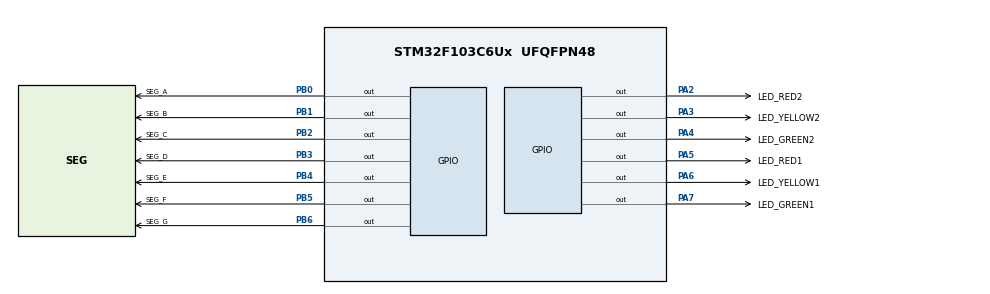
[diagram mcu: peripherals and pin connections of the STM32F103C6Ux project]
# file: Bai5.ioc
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Mcu.Family=STM32F1
Mcu.Name=STM32F103C6Ux
Mcu.Package=UFQFPN48
NVIC.PriorityGroup=NVIC_PRIORITYGROUP_4
PA2.GPIO_Label=LED_RED2
PA2.Signal=GPIO_Output
PA3.GPIO_Label=LED_YELLOW2
PA3.Signal=GPIO_Output
PA4.GPIO_Label=LED_GREEN2
PA4.Signal=GPIO_Output
PA5.GPIO_Label=LED_RED1
PA5.Signal=GPIO_Output
PA6.GPIO_Label=LED_YELLOW1
PA6.Signal=GPIO_Output
PA7.GPIO_Label=LED_GREEN1
PA7.Signal=GPIO_Output
PB0.GPIO_Label=SEG_A
PB0.Signal=GPIO_Output
PB1.GPIO_Label=SEG_B
PB1.Signal=GPIO_Output
PB2.GPIO_Label=SEG_C
PB2.Signal=GPIO_Output
PB3.GPIO_Label=SEG_D
PB3.Signal=GPIO_Output
PB4.GPIO_Label=SEG_E
PB4.Signal=GPIO_Output
PB5.GPIO_Label=SEG_F
PB5.Signal=GPIO_Output
PB6.GPIO_Label=SEG_G
PB6.Signal=GPIO_Output
ProjectManager.HeapSize=0x200
ProjectManager.StackSize=0x400
ProjectManager.TargetToolchain=STM32CubeIDE
RCC.APB1Freq_Value=8000000
RCC.APB2Freq_Value=8000000
VP_SYS_VS_ND.Mode=No_Debug
board=custom

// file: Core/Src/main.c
/* USER CODE BEGIN Header */
/**
 ******************************************************************************
 * @file           : main.c
 * @brief          : Main program body
 ******************************************************************************
 * @attention
 *
 * <h2><center>&copy; Copyright (c) 2022 STMicroelectronics.
 * All rights reserved.</center></h2>
 *
 * This software component is licensed by ST under BSD 3-Clause license,
 * the "License"; You may not use this file except in compliance with the
 * License. You may obtain a copy of the License at:
 *                        opensource.org/licenses/BSD-3-Clause
 *
 ******************************************************************************
 */
/* USER CODE END Header */
#include "main.h"

void SystemClock_Config(void);
static void MX_GPIO_Init(void);
void display7SEG(int num);

/* USER CODE BEGIN 0 */
void display7SEG(int num) {
	if (num == 0) {
		HAL_GPIO_WritePin(SEG_A_GPIO_Port, SEG_A_Pin, RESET);
		HAL_GPIO_WritePin(SEG_B_GPIO_Port, SEG_B_Pin, RESET);
		HAL_GPIO_WritePin(SEG_C_GPIO_Port, SEG_C_Pin, RESET);
		HAL_GPIO_WritePin(SEG_D_GPIO_Port, SEG_D_Pin, RESET);
		HAL_GPIO_WritePin(SEG_E_GPIO_Port, SEG_E_Pin, RESET);
		HAL_GPIO_WritePin(SEG_F_GPIO_Port, SEG_F_Pin, RESET);
		HAL_GPIO_WritePin(SEG_G_GPIO_Port, SEG_G_Pin, SET);
	}
	if (num == 1) {
		HAL_GPIO_WritePin(SEG_A_GPIO_Port, SEG_A_Pin, SET);
		HAL_GPIO_WritePin(SEG_B_GPIO_Port, SEG_B_Pin, RESET);
		HAL_GPIO_WritePin(SEG_C_GPIO_Port, SEG_C_Pin, RESET);
		HAL_GPIO_WritePin(SEG_D_GPIO_Port, SEG_D_Pin, SET);
		HAL_GPIO_WritePin(SEG_E_GPIO_Port, SEG_E_Pin, SET);
		HAL_GPIO_WritePin(SEG_F_GPIO_Port, SEG_F_Pin, SET);
		HAL_GPIO_WritePin(SEG_G_GPIO_Port, SEG_G_Pin, SET);
	}
	if (num == 2) {
		HAL_GPIO_WritePin(SEG_A_GPIO_Port, SEG_A_Pin, RESET);
		HAL_GPIO_WritePin(SEG_B_GPIO_Port, SEG_B_Pin, RESET);
		HAL_GPIO_WritePin(SEG_C_GPIO_Port, SEG_C_Pin, SET);
		HAL_GPIO_WritePin(SEG_D_GPIO_Port, SEG_D_Pin, RESET);
		HAL_GPIO_WritePin(SEG_E_GPIO_Port, SEG_E_Pin, RESET);
		HAL_GPIO_WritePin(SEG_F_GPIO_Port, SEG_F_Pin, SET);
		HAL_GPIO_WritePin(SEG_G_GPIO_Port, SEG_G_Pin, RESET);
	}
	if (num == 3) {
		HAL_GPIO_WritePin(SEG_A_GPIO_Port, SEG_A_Pin, RESET);
		HAL_GPIO_WritePin(SEG_B_GPIO_Port, SEG_B_Pin, RESET);
		HAL_GPIO_WritePin(SEG_C_GPIO_Port, SEG_C_Pin, RESET);
		HAL_GPIO_WritePin(SEG_D_GPIO_Port, SEG_D_Pin, RESET);
		HAL_GPIO_WritePin(SEG_E_GPIO_Port, SEG_E_Pin, SET);
		HAL_GPIO_WritePin(SEG_F_GPIO_Port, SEG_F_Pin, SET);
		HAL_GPIO_WritePin(SEG_G_GPIO_Port, SEG_G_Pin, RESET);
	}
	if (num == 4) {
		HAL_GPIO_WritePin(SEG_A_GPIO_Port, SEG_A_Pin, SET);
		HAL_GPIO_WritePin(SEG_B_GPIO_Port, SEG_B_Pin, RESET);
		HAL_GPIO_WritePin(SEG_C_GPIO_Port, SEG_C_Pin, RESET);
		HAL_GPIO_WritePin(SEG_D_GPIO_Port, SEG_D_Pin, SET);
		HAL_GPIO_WritePin(SEG_E_GPIO_Port, SEG_E_Pin, SET);
		HAL_GPIO_WritePin(SEG_F_GPIO_Port, SEG_F_Pin, RESET);
		HAL_GPIO_WritePin(SEG_G_GPIO_Port, SEG_G_Pin, RESET);
	}
	if (num == 5) {
		HAL_GPIO_WritePin(SEG_A_GPIO_Port, SEG_A_Pin, RESET);
		HAL_GPIO_WritePin(SEG_B_GPIO_Port, SEG_B_Pin, SET);
		HAL_GPIO_WritePin(SEG_C_GPIO_Port, SEG_C_Pin, RESET);
		HAL_GPIO_WritePin(SEG_D_GPIO_Port, SEG_D_Pin, RESET);
		HAL_GPIO_WritePin(SEG_E_GPIO_Port, SEG_E_Pin, SET);
		HAL_GPIO_WritePin(SEG_F_GPIO_Port, SEG_F_Pin, RESET);
		HAL_GPIO_WritePin(SEG_G_GPIO_Port, SEG_G_Pin, RESET);
	}
	if (num == 6) {
		HAL_GPIO_WritePin(SEG_A_GPIO_Port, SEG_A_Pin, RESET);
		HAL_GPIO_WritePin(SEG_B_GPIO_Port, SEG_B_Pin, SET);
		HAL_GPIO_WritePin(SEG_C_GPIO_Port, SEG_C_Pin, RESET);
		HAL_GPIO_WritePin(SEG_D_GPIO_Port, SEG_D_Pin, RESET);
		HAL_GPIO_WritePin(SEG_E_GPIO_Port, SEG_E_Pin, RESET);
		HAL_GPIO_WritePin(SEG_F_GPIO_Port, SEG_F_Pin, RESET);
		HAL_GPIO_WritePin(SEG_G_GPIO_Port, SEG_G_Pin, RESET);
	}
	if (num == 7) {
		HAL_GPIO_WritePin(SEG_A_GPIO_Port, SEG_A_Pin, RESET);
		HAL_GPIO_WritePin(SEG_B_GPIO_Port, SEG_B_Pin, RESET);
		HAL_GPIO_WritePin(SEG_C_GPIO_Port, SEG_C_Pin, RESET);
		HAL_GPIO_WritePin(SEG_D_GPIO_Port, SEG_D_Pin, SET);
		HAL_GPIO_WritePin(SEG_E_GPIO_Port, SEG_E_Pin, SET);
		HAL_GPIO_WritePin(SEG_F_GPIO_Port, SEG_F_Pin, SET);
		HAL_GPIO_WritePin(SEG_G_GPIO_Port, SEG_G_Pin, SET);
	}
	if (num == 8) {
		HAL_GPIO_WritePin(SEG_A_GPIO_Port, SEG_A_Pin, RESET);
		HAL_GPIO_WritePin(SEG_B_GPIO_Port, SEG_B_Pin, RESET);
		HAL_GPIO_WritePin(SEG_C_GPIO_Port, SEG_C_Pin, RESET);
		HAL_GPIO_WritePin(SEG_D_GPIO_Port, SEG_D_Pin, RESET);
		HAL_GPIO_WritePin(SEG_E_GPIO_Port, SEG_E_Pin, RESET);
		HAL_GPIO_WritePin(SEG_F_GPIO_Port, SEG_F_Pin, RESET);
		HAL_GPIO_WritePin(SEG_G_GPIO_Port, SEG_G_Pin, RESET);
	}
	if (num == 9) {
		HAL_GPIO_WritePin(SEG_A_GPIO_Port, SEG_A_Pin, RESET);
		HAL_GPIO_WritePin(SEG_B_GPIO_Port, SEG_B_Pin, RESET);
		HAL_GPIO_WritePin(SEG_C_GPIO_Port, SEG_C_Pin, RESET);
		HAL_GPIO_WritePin(SEG_D_GPIO_Port, SEG_D_Pin, RESET);
		HAL_GPIO_WritePin(SEG_E_GPIO_Port, SEG_E_Pin, SET);
		HAL_GPIO_WritePin(SEG_F_GPIO_Port, SEG_F_Pin, RESET);
		HAL_GPIO_WritePin(SEG_G_GPIO_Port, SEG_G_Pin, RESET);
	}
}
/* USER CODE END 0 */

int main(void) {

	/* MCU Configuration--------------------------------------------------------*/

	/* Reset of all peripherals, Initializes the Flash interface and the Systick. */
	HAL_Init();

	/* Configure the system clock */
	SystemClock_Config();

	/* Initialize all configured peripherals */
	MX_GPIO_Init();

	/* Infinite loop */
	/* USER CODE BEGIN WHILE */

	int count = 0;
	int timeCounter = 5;	//countdown time of led 1
	while (1) {
		if (count == 0)	//Red1 and green2 led on, others turn off
				{
			HAL_GPIO_WritePin(LED_RED1_GPIO_Port, LED_RED1_Pin, SET);
			HAL_GPIO_WritePin(LED_YELLOW1_GPIO_Port, LED_YELLOW1_Pin, RESET);
			HAL_GPIO_WritePin(LED_GREEN1_GPIO_Port, LED_GREEN1_Pin, RESET);
			HAL_GPIO_WritePin(LED_RED2_GPIO_Port, LED_RED2_Pin, RESET);
			HAL_GPIO_WritePin(LED_YELLOW2_GPIO_Port, LED_YELLOW2_Pin, RESET);
			HAL_GPIO_WritePin(LED_GREEN2_GPIO_Port, LED_GREEN2_Pin, SET);
		}
		if (count == 3)	//Red1 led on; Yellow2 led on, others turn off
				{
			HAL_GPIO_TogglePin(LED_GREEN2_GPIO_Port, LED_GREEN2_Pin);
			HAL_GPIO_TogglePin(LED_YELLOW2_GPIO_Port, LED_YELLOW2_Pin);
		}
		if (count == 5) //Green1 led on; Red2 led on, others turn off
				{
			//Led1:
			HAL_GPIO_TogglePin(LED_RED1_GPIO_Port, LED_RED1_Pin);
			HAL_GPIO_TogglePin(LED_GREEN1_GPIO_Port, LED_GREEN1_Pin);
			timeCounter = 3;
			//Led2:
			HAL_GPIO_TogglePin(LED_YELLOW2_GPIO_Port, LED_YELLOW2_Pin);
			HAL_GPIO_TogglePin(LED_RED2_GPIO_Port, LED_RED2_Pin);
		}
		if (count == 8) //Yellow1 led on; Red2 led on, others turn off
				{
			HAL_GPIO_TogglePin(LED_GREEN1_GPIO_Port, LED_GREEN1_Pin);
			HAL_GPIO_TogglePin(LED_YELLOW1_GPIO_Port, LED_YELLOW1_Pin);
			timeCounter = 2;
		}
		if (count == 10) //Red1 led on; Green2 led on, others turn off
				{
			//Led1:
			HAL_GPIO_TogglePin(LED_YELLOW1_GPIO_Port, LED_YELLOW1_Pin);
			HAL_GPIO_TogglePin(LED_RED1_GPIO_Port, LED_RED1_Pin);
			timeCounter = 5;
			//Led2:
			HAL_GPIO_TogglePin(LED_RED2_GPIO_Port, LED_RED2_Pin);
			HAL_GPIO_TogglePin(LED_GREEN2_GPIO_Port, LED_GREEN2_Pin);
			count = 0;
		}

		display7SEG(timeCounter);
		count++;
		timeCounter--;
		HAL_Delay(1000);

		/* USER CODE END WHILE */

	}
}

void SystemClock_Config(void) {
	RCC_OscInitTypeDef RCC_OscInitStruct = { 0 };
	RCC_ClkInitTypeDef RCC_ClkInitStruct = { 0 };

	/** Initializes the RCC Oscillators according to the specified parameters
	 * in the RCC_OscInitTypeDef structure.
	 */
	RCC_OscInitStruct.OscillatorType = RCC_OSCILLATORTYPE_HSI;
	RCC_OscInitStruct.HSIState = RCC_HSI_ON;
	RCC_OscInitStruct.HSICalibrationValue = RCC_HSICALIBRATION_DEFAULT;
	RCC_OscInitStruct.PLL.PLLState = RCC_PLL_NONE;
	if (HAL_RCC_OscConfig(&RCC_OscInitStruct) != HAL_OK) {
		Error_Handler();
	}
	/** Initializes the CPU, AHB and APB buses clocks
	 */
	RCC_ClkInitStruct.ClockType = RCC_CLOCKTYPE_HCLK | RCC_CLOCKTYPE_SYSCLK
			| RCC_CLOCKTYPE_PCLK1 | RCC_CLOCKTYPE_PCLK2;
	RCC_ClkInitStruct.SYSCLKSource = RCC_SYSCLKSOURCE_HSI;
	RCC_ClkInitStruct.AHBCLKDivider = RCC_SYSCLK_DIV1;
	RCC_ClkInitStruct.APB1CLKDivider = RCC_HCLK_DIV1;
	RCC_ClkInitStruct.APB2CLKDivider = RCC_HCLK_DIV1;

	if (HAL_RCC_ClockConfig(&RCC_ClkInitStruct, FLASH_LATENCY_0) != HAL_OK) {
		Error_Handler();
	}
}

static void MX_GPIO_Init(void) {
	GPIO_InitTypeDef GPIO_InitStruct = { 0 };

	/* GPIO Ports Clock Enable */
	__HAL_RCC_GPIOA_CLK_ENABLE();
	__HAL_RCC_GPIOB_CLK_ENABLE();

	/*Configure GPIO pin Output Level */
	HAL_GPIO_WritePin(GPIOA,
			LED_RED2_Pin | LED_YELLOW2_Pin | LED_GREEN2_Pin | LED_RED1_Pin
					| LED_YELLOW1_Pin | LED_GREEN1_Pin, GPIO_PIN_RESET);

	/*Configure GPIO pin Output Level */
	HAL_GPIO_WritePin(GPIOB,
			SEG_A_Pin | SEG_B_Pin | SEG_C_Pin | SEG_D_Pin | SEG_E_Pin
					| SEG_F_Pin | SEG_G_Pin, GPIO_PIN_RESET);

	/*Configure GPIO pins : LED_RED2_Pin LED_YELLOW2_Pin LED_GREEN2_Pin LED_RED1_Pin
	 LED_YELLOW1_Pin LED_GREEN1_Pin */
	GPIO_InitStruct.Pin = LED_RED2_Pin | LED_YELLOW2_Pin | LED_GREEN2_Pin
			| LED_RED1_Pin | LED_YELLOW1_Pin | LED_GREEN1_Pin;
	GPIO_InitStruct.Mode = GPIO_MODE_OUTPUT_PP;
	GPIO_InitStruct.Pull = GPIO_NOPULL;
	GPIO_InitStruct.Speed = GPIO_SPEED_FREQ_LOW;
	HAL_GPIO_Init(GPIOA, &GPIO_InitStruct);

	/*Configure GPIO pins : SEG_A_Pin SEG_B_Pin SEG_C_Pin SEG_D_Pin
	 SEG_E_Pin SEG_F_Pin SEG_G_Pin */
	GPIO_InitStruct.Pin = SEG_A_Pin | SEG_B_Pin | SEG_C_Pin | SEG_D_Pin
			| SEG_E_Pin | SEG_F_Pin | SEG_G_Pin;
	GPIO_InitStruct.Mode = GPIO_MODE_OUTPUT_PP;
	GPIO_InitStruct.Pull = GPIO_NOPULL;
	GPIO_InitStruct.Speed = GPIO_SPEED_FREQ_LOW;
	HAL_GPIO_Init(GPIOB, &GPIO_InitStruct);

}

void Error_Handler(void) {
	__disable_irq();
	while (1) {
	}
}

/************************ (C) COPYRIGHT STMicroelectronics *****END OF FILE****/
